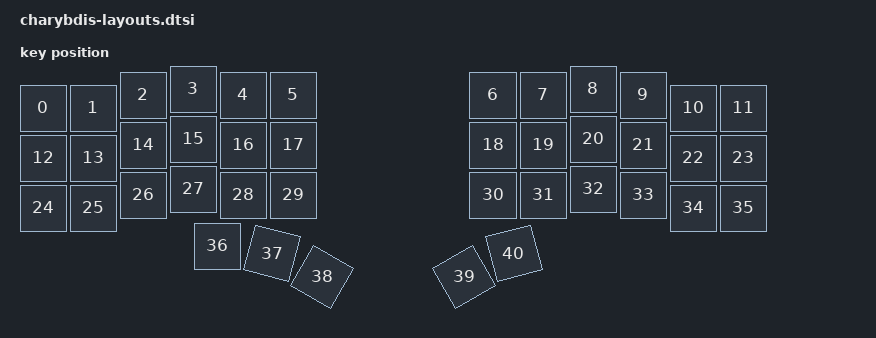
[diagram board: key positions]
#include <physical_layouts.dtsi>

/ {
    charybdis_physical_layout: charybdis_physical_layout {
        compatible = "zmk,physical-layout";
        display-name = "Charybdis 3x6";

        kscan = <&kscan0>;
        transform = <&default_transform>;

        keys
            // Left Half - Main Keys
            //                       w   h    x    y     rot    rx    ry
            = <&key_physical_attrs 100 100    0   38       0     0     0>
            , <&key_physical_attrs 100 100  100   38       0     0     0>
            , <&key_physical_attrs 100 100  200   12       0     0     0>
            , <&key_physical_attrs 100 100  300    0       0     0     0>
            , <&key_physical_attrs 100 100  400   12       0     0     0>
            , <&key_physical_attrs 100 100  500   12       0     0     0>
            , <&key_physical_attrs 100 100  900   12       0     0     0>
            , <&key_physical_attrs 100 100 1000   12       0     0     0>
            , <&key_physical_attrs 100 100 1100    0       0     0     0>
            , <&key_physical_attrs 100 100 1200   12       0     0     0>
            , <&key_physical_attrs 100 100 1300   38       0     0     0>
            , <&key_physical_attrs 100 100 1400   38       0     0     0>
            , <&key_physical_attrs 100 100    0  138       0     0     0>
            , <&key_physical_attrs 100 100  100  138       0     0     0>
            , <&key_physical_attrs 100 100  200  112       0     0     0>
            , <&key_physical_attrs 100 100  300  100       0     0     0>
            , <&key_physical_attrs 100 100  400  112       0     0     0>
            , <&key_physical_attrs 100 100  500  112       0     0     0>

            // Right Half - Main Keys
            //                       w   h    x    y     rot    rx    ry
            , <&key_physical_attrs 100 100  900  112       0     0     0>
            , <&key_physical_attrs 100 100 1000  112       0     0     0>
            , <&key_physical_attrs 100 100 1100  100       0     0     0>
            , <&key_physical_attrs 100 100 1200  112       0     0     0>
            , <&key_physical_attrs 100 100 1300  138       0     0     0>
            , <&key_physical_attrs 100 100 1400  138       0     0     0>
            , <&key_physical_attrs 100 100    0  238       0     0     0>
            , <&key_physical_attrs 100 100  100  238       0     0     0>
            , <&key_physical_attrs 100 100  200  212       0     0     0>
            , <&key_physical_attrs 100 100  300  200       0     0     0>
            , <&key_physical_attrs 100 100  400  212       0     0     0>
            , <&key_physical_attrs 100 100  500  212       0     0     0>
            , <&key_physical_attrs 100 100  900  212       0     0     0>
            , <&key_physical_attrs 100 100 1000  212       0     0     0>
            , <&key_physical_attrs 100 100 1100  200       0     0     0>
            , <&key_physical_attrs 100 100 1200  212       0     0     0>
            , <&key_physical_attrs 100 100 1300  238       0     0     0>
            , <&key_physical_attrs 100 100 1400  238       0     0     0>

            // Thumb Clusters
            //                       w   h    x    y     rot    rx    ry
            , <&key_physical_attrs 100 100  348  314       0     0     0>
            , <&key_physical_attrs 100 100  348  314    1500   398   790>
            , <&key_physical_attrs 100 100  348  320    3000   398   790>
            , <&key_physical_attrs 100 100 1052  320 (-3000)  1102   790>
            , <&key_physical_attrs 100 100 1052  314 (-1500)  1102   790>
            ;
    };
};
